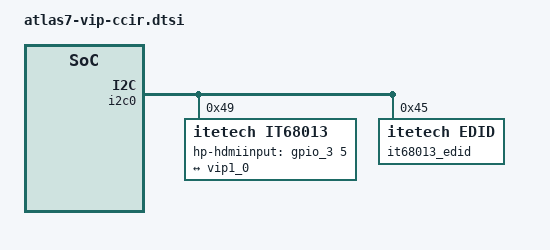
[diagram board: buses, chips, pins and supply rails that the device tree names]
/*
 * DTS file for CSR SiRFatlas7 SoC VIP CCIR port
 *
 * Copyright (c) 2016, The Linux Foundation. All rights reserved.
 *
 * This program is free software; you can redistribute it and/or modify
 * it under the terms of the GNU General Public License version 2 and
 * only version 2 as published by the Free Software Foundation.
 *
 * This program is distributed in the hope that it will be useful,
 * but WITHOUT ANY WARRANTY; without even the implied warranty of
 * MERCHANTABILITY or FITNESS FOR A PARTICULAR PURPOSE.  See the
 * GNU General Public License for more details.
 */

/ {
	noc {
		vdifm {
			vip1@13160000 {
				compatible = "sirf,atlas7-com-vip";
				status = "okay";
				pinctrl-names = "default";
				pinctrl-0 = <&vi_vip1_low8bit_pmx>;
				port {
					#address-cells = <1>;
					#size-cells = <0>;
					vip1_0: endpoint@0 {
						reg = <0>;
						remote-endpoint = <&it68013_1>;
					};
				};
			};
		};

		mediam {
			i2c0: i2c@17020000 {
				it68013: decoder@49 {
					compatible = "itetech,it68013";
					reg = <0x49>;
					hp-hdmiinput-gpios = <&gpio_3 5 2>;
					input-number = <1>;
					inputs = <&hdmi0>;
					hdmi0: hdmi@0 {
						input-name = "hdmi";
						input-id = <0>;
					};
					port {
						it68013_1: endpoint {
							/* separate or
								embedded sync */
							/*hsync-active = <1>;*/
							/*vsync-active = <1>;*/
							/* SDR or DDR
								sample mode */
							data-mode = "DDR";
							/* 0: 16bit data
								to VIP */
							/* 1: 8bit to
								VIP data[7:0] */
							/* 2: 8bit to
								VIP data[8:1] */
							data-shift = <1>;
							remote-endpoint =
								<&vip1_0>;
						};
					};
				};
				it68013_edid@45 {
					compatible = "itetech,edid";
					reg = <0x45>;
				};
			};
		};
	};
};
